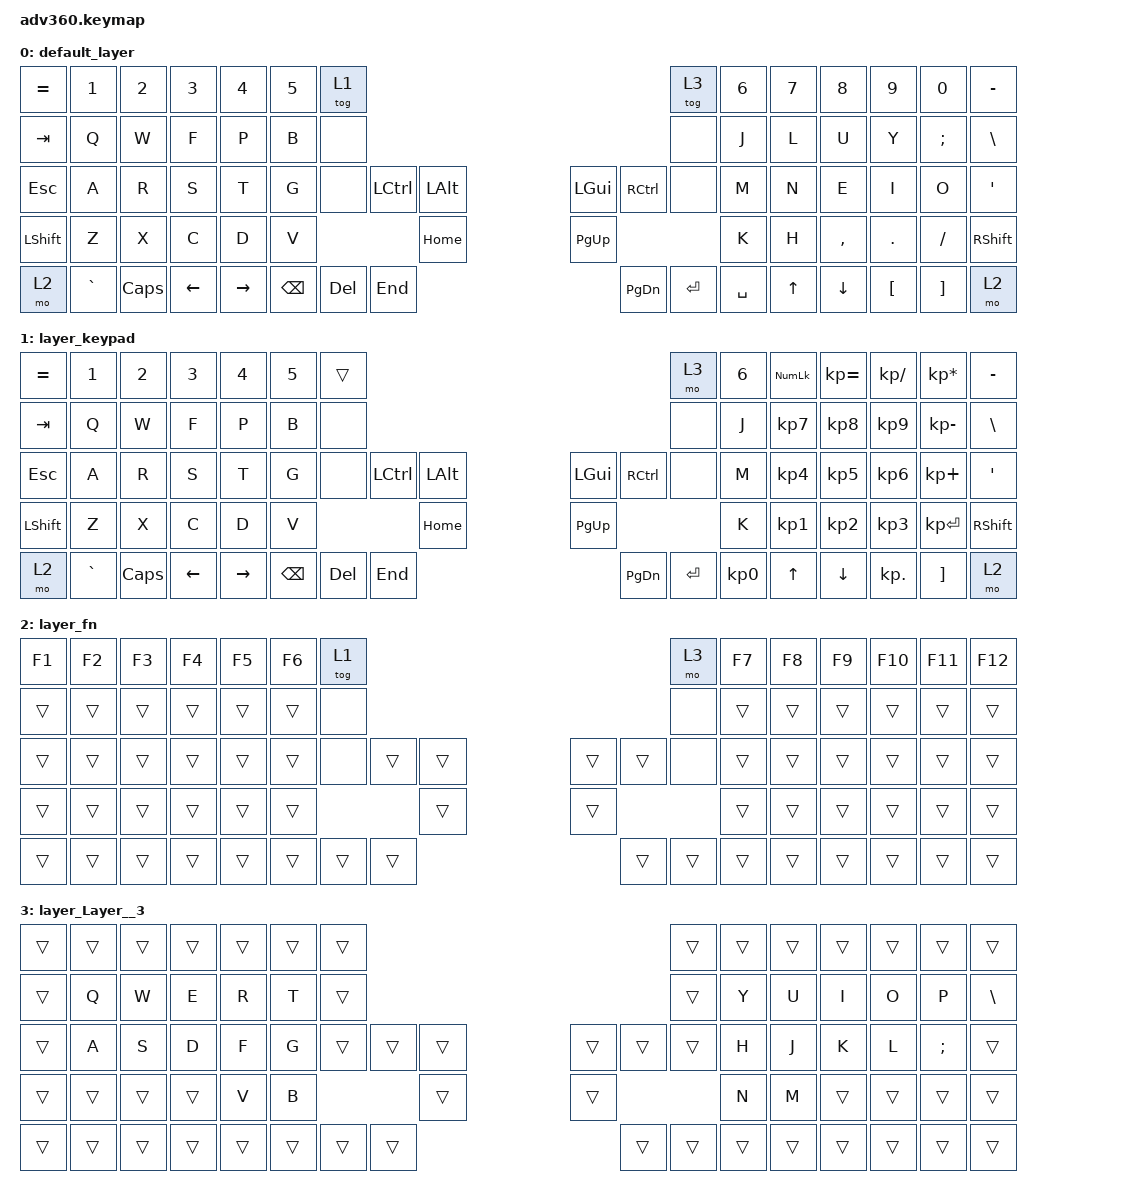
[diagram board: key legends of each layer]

/*
 * Copyright (c) 2020 The ZMK Contributors
 *
 * SPDX-License-Identifier: MIT
 */


/* THIS FILE WAS GENERATED!
 *
 * This file was generated automatically. You may or may not want to
 * edit it directly.
 */

#include <behaviors.dtsi>
#include <dt-bindings/zmk/keys.h>

/ {
  behaviors {
    #include "macros.dtsi"
    #include "version.dtsi"

    hm: homerow_mods {
        compatible = "zmk,behavior-hold-tap";
        label = "HOMEROW_MODS";
        #binding-cells = <2>;
        tapping-term-ms = <200>;
        quick_tap_ms = <175>;
        flavor = "tap-preferred";
        bindings = <&kp>, <&kp>;
    };
  };

    keymap {
        compatible = "zmk,keymap";


        default_layer {
            bindings = <
 &kp EQUAL     &kp N1    &kp N2    &kp N3     &kp N4  &kp N5              &tog 1                                                                &tog 3  &kp N6  &kp N7     &kp N8    &kp N9         &kp N0  &kp MINUS
   &kp TAB      &kp Q     &kp W     &kp F      &kp P   &kp B               &none                                                                 &none   &kp J   &kp L      &kp U     &kp Y  &kp SEMICOLON   &kp BSLH
   &kp ESC      &kp A     &kp R     &kp S      &kp T   &kp G               &none  &kp LCTRL  &kp LALT                   &kp LGUI  &kp RCTRL      &none   &kp M   &kp N      &kp E     &kp I          &kp O    &kp SQT
 &kp LSHFT      &kp Z     &kp X     &kp C      &kp D   &kp V                                 &kp HOME                  &kp PG_UP                         &kp K   &kp H  &kp COMMA   &kp DOT       &kp FSLH  &kp RSHFT
     &mo 2  &kp GRAVE  &kp CAPS  &kp LEFT  &kp RIGHT                    &kp BSPC    &kp DEL   &kp END                  &kp PG_DN  &kp ENTER  &kp SPACE          &kp UP   &kp DOWN  &kp LBKT       &kp RBKT      &mo 2
            >;
        };

        layer_keypad {
            bindings = <
 &kp EQUAL     &kp N1    &kp N2    &kp N3     &kp N4  &kp N5              &trans                                                                 &mo 3  &kp N6  &kp KP_NUM  &kp KP_EQUAL  &kp KP_DIVIDE  &kp KP_MULTIPLY  &kp MINUS
   &kp TAB      &kp Q     &kp W     &kp F      &kp P   &kp B               &none                                                                 &none   &kp J   &kp KP_N7     &kp KP_N8      &kp KP_N9     &kp KP_MINUS   &kp BSLH
   &kp ESC      &kp A     &kp R     &kp S      &kp T   &kp G               &none  &kp LCTRL  &kp LALT                   &kp LGUI  &kp RCTRL      &none   &kp M   &kp KP_N4     &kp KP_N5      &kp KP_N6      &kp KP_PLUS    &kp SQT
 &kp LSHFT      &kp Z     &kp X     &kp C      &kp D   &kp V                                 &kp HOME                  &kp PG_UP                         &kp K   &kp KP_N1     &kp KP_N2      &kp KP_N3     &kp KP_ENTER  &kp RSHFT
     &mo 2  &kp GRAVE  &kp CAPS  &kp LEFT  &kp RIGHT                    &kp BSPC    &kp DEL   &kp END                  &kp PG_DN  &kp ENTER  &kp KP_N0              &kp UP      &kp DOWN     &kp KP_DOT         &kp RBKT      &mo 2
            >;
        };

        layer_fn {
            bindings = <
 &kp F1  &kp F2  &kp F3  &kp F4  &kp F5  &kp F6            &tog 1                                                   &mo 3  &kp F7  &kp F8  &kp F9  &kp F10  &kp F11  &kp F12
 &trans  &trans  &trans  &trans  &trans  &trans             &none                                                   &none  &trans  &trans  &trans   &trans   &trans   &trans
 &trans  &trans  &trans  &trans  &trans  &trans             &none  &trans  &trans                  &trans  &trans   &none  &trans  &trans  &trans   &trans   &trans   &trans
 &trans  &trans  &trans  &trans  &trans  &trans                            &trans                  &trans                  &trans  &trans  &trans   &trans   &trans   &trans
 &trans  &trans  &trans  &trans  &trans                    &trans  &trans  &trans                  &trans  &trans  &trans          &trans  &trans   &trans   &trans   &trans
            >;
        };

        layer_Layer__3 {
            bindings = <
 &trans  &trans  &trans  &trans  &trans  &trans            &trans                                                  &trans  &trans  &trans  &trans  &trans         &trans         &trans
 &trans   &kp Q   &kp W   &kp E   &kp R   &kp T            &trans                                                  &trans   &kp Y   &kp U   &kp I   &kp O          &kp P  &kp BACKSLASH
 &trans   &kp A   &kp S   &kp D   &kp F   &kp G            &trans  &trans  &trans                  &trans  &trans  &trans   &kp H   &kp J   &kp K   &kp L  &kp SEMICOLON         &trans
 &trans  &trans  &trans  &trans   &kp V   &kp B                            &trans                  &trans                   &kp N   &kp M  &trans  &trans         &trans         &trans
 &trans  &trans  &trans  &trans  &trans                    &trans  &trans  &trans                  &trans  &trans  &trans          &trans  &trans  &trans         &trans         &trans
            >;
        };

    };
};
